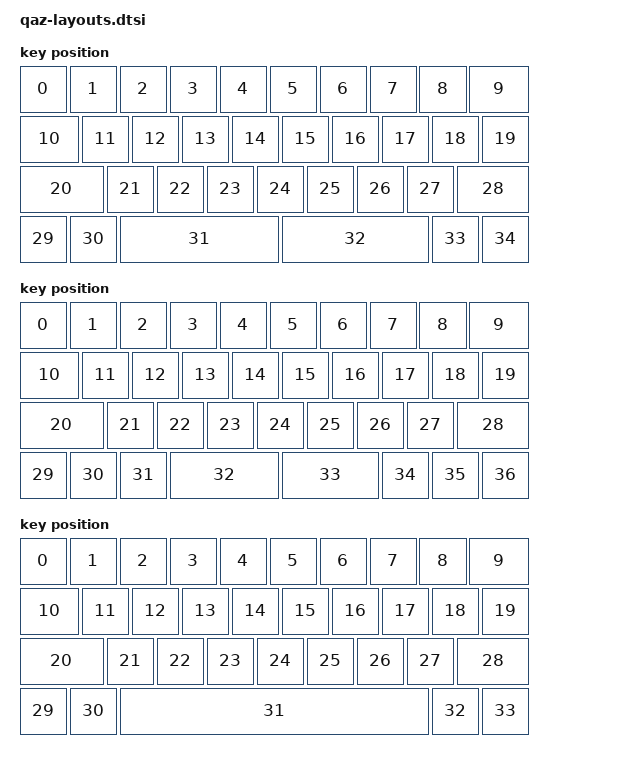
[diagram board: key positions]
/*
 * Copyright (c) 2024 The ZMK Contributors
 *
 * SPDX-License-Identifier: MIT
 */

#include <physical_layouts.dtsi>

/ {
    split_big_bar_layout: split_big_bar_layout {
      compatible = "zmk,physical-layout";
      display-name = "Split Big Bar";
      transform = <&split_big_bar_transform>;
      kscan = <&kscan0>;
      keys //                      w   h    x    y     rot    rx    ry
          = <&key_physical_attrs 100 100    0    0       0     0     0>
          , <&key_physical_attrs 100 100  100    0       0     0     0>
          , <&key_physical_attrs 100 100  200    0       0     0     0>
          , <&key_physical_attrs 100 100  300    0       0     0     0>
          , <&key_physical_attrs 100 100  400    0       0     0     0>
          , <&key_physical_attrs 100 100  500    0       0     0     0>
          , <&key_physical_attrs 100 100  600    0       0     0     0>
          , <&key_physical_attrs 100 100  700    0       0     0     0>
          , <&key_physical_attrs 100 100  800    0       0     0     0>
          , <&key_physical_attrs 125 100  900    0       0     0     0>

          , <&key_physical_attrs 125 100    0  100       0     0     0>
          , <&key_physical_attrs 100 100  125  100       0     0     0>
          , <&key_physical_attrs 100 100  225  100       0     0     0>
          , <&key_physical_attrs 100 100  325  100       0     0     0>
          , <&key_physical_attrs 100 100  425  100       0     0     0>
          , <&key_physical_attrs 100 100  525  100       0     0     0>
          , <&key_physical_attrs 100 100  625  100       0     0     0>
          , <&key_physical_attrs 100 100  725  100       0     0     0>
          , <&key_physical_attrs 100 100  825  100       0     0     0>
          , <&key_physical_attrs 100 100  925  100       0     0     0>

          , <&key_physical_attrs 175 100    0  200       0     0     0>
          , <&key_physical_attrs 100 100  175  200       0     0     0>
          , <&key_physical_attrs 100 100  275  200       0     0     0>
          , <&key_physical_attrs 100 100  375  200       0     0     0>
          , <&key_physical_attrs 100 100  475  200       0     0     0>
          , <&key_physical_attrs 100 100  575  200       0     0     0>
          , <&key_physical_attrs 100 100  675  200       0     0     0>
          , <&key_physical_attrs 100 100  775  200       0     0     0>
          , <&key_physical_attrs 150 100  875  200       0     0     0>
            
          , <&key_physical_attrs 100 100    0  300       0     0     0>
          , <&key_physical_attrs 100 100  100  300       0     0     0>
          , <&key_physical_attrs 325 100  200  300       0     0     0>
          , <&key_physical_attrs 300 100  525  300       0     0     0>
          , <&key_physical_attrs 100 100  825  300       0     0     0>
          , <&key_physical_attrs 100 100  925  300       0     0     0>
          ;
    };

    split_bar_layout: split_bar_layout {
        compatible = "zmk,physical-layout";
        display-name = "Split Bar";
        transform = <&split_bar_transform>;
        kscan = <&kscan0>;
        keys //                      w   h    x    y     rot    rx    ry
            = <&key_physical_attrs 100 100    0    0       0     0     0>
            , <&key_physical_attrs 100 100  100    0       0     0     0>
            , <&key_physical_attrs 100 100  200    0       0     0     0>
            , <&key_physical_attrs 100 100  300    0       0     0     0>
            , <&key_physical_attrs 100 100  400    0       0     0     0>
            , <&key_physical_attrs 100 100  500    0       0     0     0>
            , <&key_physical_attrs 100 100  600    0       0     0     0>
            , <&key_physical_attrs 100 100  700    0       0     0     0>
            , <&key_physical_attrs 100 100  800    0       0     0     0>
            , <&key_physical_attrs 125 100  900    0       0     0     0>

            , <&key_physical_attrs 125 100    0  100       0     0     0>
            , <&key_physical_attrs 100 100  125  100       0     0     0>
            , <&key_physical_attrs 100 100  225  100       0     0     0>
            , <&key_physical_attrs 100 100  325  100       0     0     0>
            , <&key_physical_attrs 100 100  425  100       0     0     0>
            , <&key_physical_attrs 100 100  525  100       0     0     0>
            , <&key_physical_attrs 100 100  625  100       0     0     0>
            , <&key_physical_attrs 100 100  725  100       0     0     0>
            , <&key_physical_attrs 100 100  825  100       0     0     0>
            , <&key_physical_attrs 100 100  925  100       0     0     0>

            , <&key_physical_attrs 175 100    0  200       0     0     0>
            , <&key_physical_attrs 100 100  175  200       0     0     0>
            , <&key_physical_attrs 100 100  275  200       0     0     0>
            , <&key_physical_attrs 100 100  375  200       0     0     0>
            , <&key_physical_attrs 100 100  475  200       0     0     0>
            , <&key_physical_attrs 100 100  575  200       0     0     0>
            , <&key_physical_attrs 100 100  675  200       0     0     0>
            , <&key_physical_attrs 100 100  775  200       0     0     0>
            , <&key_physical_attrs 150 100  875  200       0     0     0>

            , <&key_physical_attrs 100 100    0  300       0     0     0>
            , <&key_physical_attrs 100 100  100  300       0     0     0>
            , <&key_physical_attrs 100 100  200  300       0     0     0>
            , <&key_physical_attrs 225 100  300  300       0     0     0>
            , <&key_physical_attrs 200 100  525  300       0     0     0>
            , <&key_physical_attrs 100 100  725  300       0     0     0>
            , <&key_physical_attrs 100 100  825  300       0     0     0>
            , <&key_physical_attrs 100 100  925  300       0     0     0>
            ;
    };

    big_bar_layout: big_bar_layout {
        compatible = "zmk,physical-layout";
        display-name = "Big Bar";
        transform = <&big_bar_transform>;
        kscan = <&kscan0>;
        keys //                      w   h    x    y     rot    rx    ry
            = <&key_physical_attrs 100 100    0    0       0     0     0>
            , <&key_physical_attrs 100 100  100    0       0     0     0>
            , <&key_physical_attrs 100 100  200    0       0     0     0>
            , <&key_physical_attrs 100 100  300    0       0     0     0>
            , <&key_physical_attrs 100 100  400    0       0     0     0>
            , <&key_physical_attrs 100 100  500    0       0     0     0>
            , <&key_physical_attrs 100 100  600    0       0     0     0>
            , <&key_physical_attrs 100 100  700    0       0     0     0>
            , <&key_physical_attrs 100 100  800    0       0     0     0>
            , <&key_physical_attrs 125 100  900    0       0     0     0>

            , <&key_physical_attrs 125 100    0  100       0     0     0>
            , <&key_physical_attrs 100 100  125  100       0     0     0>
            , <&key_physical_attrs 100 100  225  100       0     0     0>
            , <&key_physical_attrs 100 100  325  100       0     0     0>
            , <&key_physical_attrs 100 100  425  100       0     0     0>
            , <&key_physical_attrs 100 100  525  100       0     0     0>
            , <&key_physical_attrs 100 100  625  100       0     0     0>
            , <&key_physical_attrs 100 100  725  100       0     0     0>
            , <&key_physical_attrs 100 100  825  100       0     0     0>
            , <&key_physical_attrs 100 100  925  100       0     0     0>

            , <&key_physical_attrs 175 100    0  200       0     0     0>
            , <&key_physical_attrs 100 100  175  200       0     0     0>
            , <&key_physical_attrs 100 100  275  200       0     0     0>
            , <&key_physical_attrs 100 100  375  200       0     0     0>
            , <&key_physical_attrs 100 100  475  200       0     0     0>
            , <&key_physical_attrs 100 100  575  200       0     0     0>
            , <&key_physical_attrs 100 100  675  200       0     0     0>
            , <&key_physical_attrs 100 100  775  200       0     0     0>
            , <&key_physical_attrs 150 100  875  200       0     0     0>

            , <&key_physical_attrs 100 100    0  300       0     0     0>
            , <&key_physical_attrs 100 100  100  300       0     0     0>
            , <&key_physical_attrs 625 100  200  300       0     0     0>
            , <&key_physical_attrs 100 100  825  300       0     0     0>
            , <&key_physical_attrs 100 100  925  300       0     0     0>
            ;
    };

    position_map {
        compatible = "zmk,physical-layout-position-map";

        complete;

        split_big_bar_posmap {
            physical-layout = <&split_big_bar_layout>;
            positions
                = < 0  1  2  3  4  5  6  7  8  9>
                , <10 11 12 13 14 15 16 17 18 19>
                , <20 21 22 23 24 25 26 27 28>
                , <29 30 35 31 36 33 34 32>
                ;
        };

        split_bar_posmap {
            physical-layout = <&split_bar_layout>;
            positions
                = < 0  1  2  3  4  5  6  7  8  9>
                , <10 11 12 13 14 15 16 17 18 19>
                , <20 21 22 23 24 25 26 27 28>
                , <29 30 31 32 34 35 36 33>
                ;
        };

        big_bar_posmap {
            physical-layout = <&big_bar_layout>;
            positions
                = < 0  1  2  3  4  5  6  7  8  9>
                , <10 11 12 13 14 15 16 17 18 19>
                , <20 21 22 23 24 25 26 27 28>
                , <29 30 35 34 36 32 33 31>
                ;
        };
    };
};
